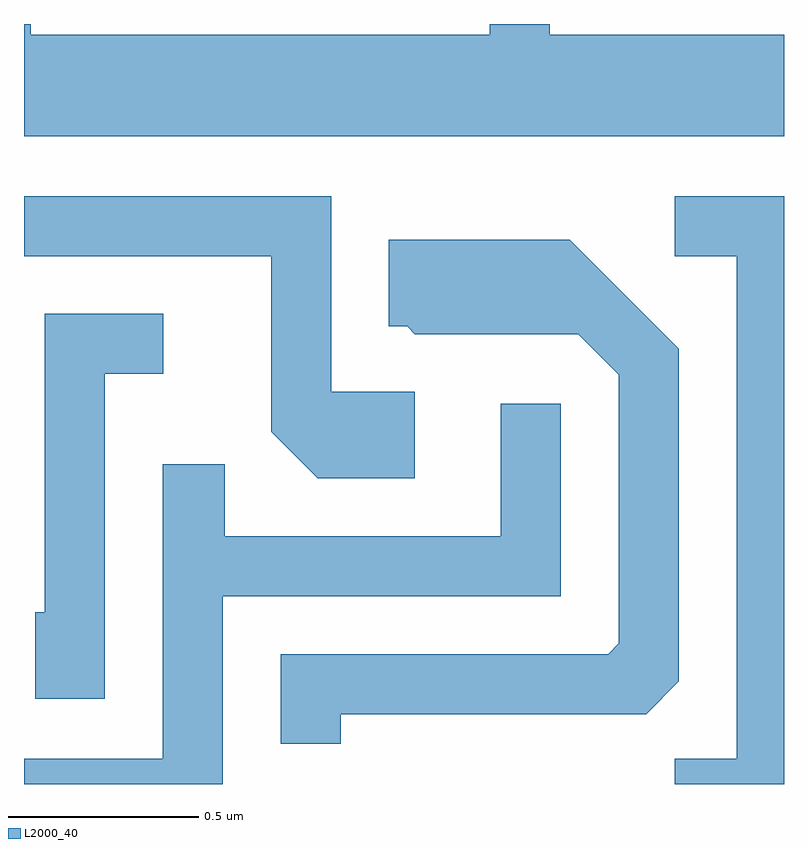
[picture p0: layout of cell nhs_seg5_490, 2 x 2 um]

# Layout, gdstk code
import gdstk
lib = gdstk.Library(unit=1e-6, precision=1e-09)
def P(c, l, *ps):  # polygons
    for p in ps: c.add(gdstk.Polygon(p, *l))
L2000_40 = (2000, 40)

nhs_seg5_490 = lib.new_cell('nhs_seg5_490')
P(nhs_seg5_490, L2000_40, [(190.611,1477.044),(189.994,1477.044),(189.994,1477.072),(189.836,1477.072),(189.836,1477.044),(188.629,1477.044),(188.629,1477.072),(188.611,1477.072),(188.611,1476.776),(190.611,1476.776)],
  [(190.611,1476.619),(190.323,1476.619),(190.323,1476.461),(190.486,1476.461),(190.486,1475.139),(190.323,1475.139),(190.323,1475.072),(190.611,1475.072)],
  [(189.639,1476.104),(189.419,1476.104),(189.419,1476.619),(188.611,1476.619),(188.611,1476.461),(189.261,1476.461),(189.261,1475.999),(189.384,1475.876),(189.639,1475.876)],
  [(189.444,1475.256),(190.249,1475.256),(190.334,1475.342),(190.334,1476.217),(190.047,1476.504),(189.571,1476.504),(189.571,1476.276),(189.619,1476.276),(189.639,1476.256),(190.069,1476.256),(190.176,1476.149),(190.176,1475.442),(190.149,1475.414),(189.286,1475.414),(189.286,1475.178),(189.444,1475.178)],
  [(188.824,1476.151),(188.978,1476.151),(188.978,1476.309),(188.666,1476.309),(188.666,1475.524),(188.641,1475.524),(188.641,1475.296),(188.824,1475.296)],
  [(189.134,1475.566),(190.024,1475.566),(190.024,1476.073),(189.866,1476.073),(189.866,1475.724),(189.139,1475.724),(189.139,1475.913),(188.976,1475.913),(188.976,1475.139),(188.611,1475.139),(188.611,1475.072),(189.134,1475.072)])

lib.write_gds('nhs_seg5_490.gds')
